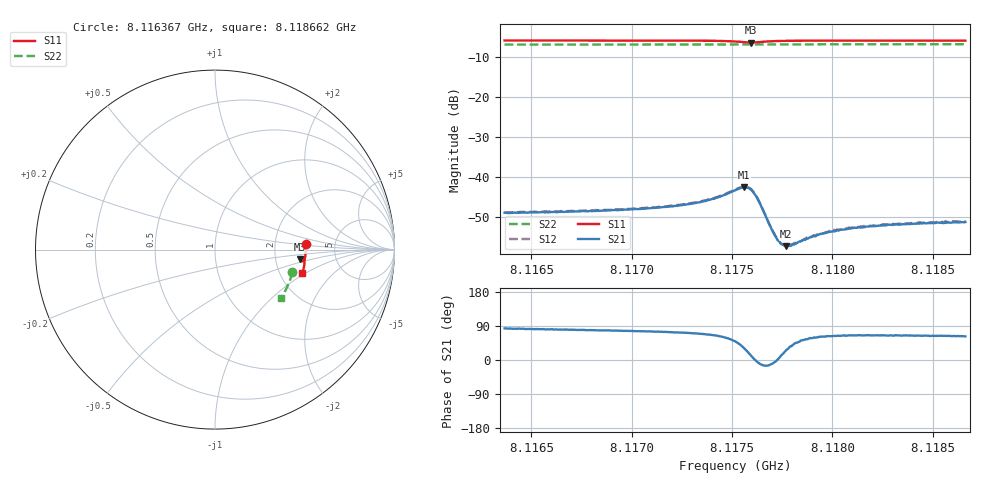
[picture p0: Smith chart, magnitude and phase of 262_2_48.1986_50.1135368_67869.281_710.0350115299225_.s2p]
#  HZ  S  RI  R  50.00
! Rohde & Schwarz Vector Network Analyzer
! Rohde-Schwarz,ZNB20-2Port,1311601062101988,3.16
! Created: UTC 3/20/2024, 11:47:48 AM
! freq[Hz]  re:S11  im:S11  re:S21  im:S21  re:S12  im:S12  re:S22  im:S22
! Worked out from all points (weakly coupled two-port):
!   401 points, 8.116367 GHz to 8.118662 GHz, reference 50 ohm
!   highest |S21| = -42.54 dB at 8.11756 GHz (marker M1); lowest = -57.3 dB at 8.117767 GHz (marker M2)
!   lowest |S11| = -6.4 dB at 8.117595 GHz (marker M3), VSWR 2.83, Z = 138 - j19.4 ohm
!   |S11| at or under -10 dB: nowhere
!   |S22| runs from -6.9 to -6.8 dB; largest |S21 - S12| = 0.00018
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8.1163666e9  0.506 0.0311  0.000409 0.00356  0.000503 0.00361  0.4312 -0.1266
8.1167512e9  0.5064 0.0017  0.000682 0.0037  0.000722 0.00371  0.4239 -0.1523
8.1171357e9  0.5047 -0.0286  0.0011 0.00399  0.00117 0.00409  0.4151 -0.1775
8.117262e9  0.503 -0.0393  0.00139 0.00431  0.00146 0.00435  0.4119 -0.1858
8.1173538e9  0.501 -0.0478  0.00181 0.00461  0.00186 0.00469  0.4093 -0.1918
8.1174227e9  0.4983 -0.0549  0.0024 0.00497  0.00246 0.00504  0.4072 -0.1962
8.1175145e9  0.4884 -0.0642  0.00445 0.00517  0.00458 0.00525  0.4042 -0.2023
8.1175605e9  0.4784 -0.0628  0.0064 0.00384  0.00654 0.00385  0.4025 -0.2047
8.1175777e9  0.4754 -0.0592  0.00685 0.00271  0.007 0.00272  0.4018 -0.2057
8.1175949e9  0.4745 -0.0542  0.00679 0.00135  0.00695 0.00131  0.4016 -0.2064
8.1176121e9  0.4765 -0.0495  0.00614 0.000158  0.00625 7.82e-05  0.4012 -0.2071
8.1176293e9  0.4805 -0.0467  0.00515 -0.000617  0.00526 -0.000659  0.4009 -0.2081
8.1176925e9  0.4929 -0.0497  0.00232 -0.000477  0.00234 -0.000518  0.3997 -0.2123
8.1177154e9  0.4953 -0.0527  0.00181 -0.00015  0.00184 -0.000163  0.3991 -0.2137
8.1177384e9  0.4968 -0.0558  0.00152 0.000197  0.00151 0.000202  0.3984 -0.2153
8.1177671e9  0.4979 -0.0593  0.00125 0.000563  0.00127 0.000554  0.3975 -0.2172
8.1178015e9  0.4986 -0.0634  0.0011 0.000911  0.00114 0.000899  0.3964 -0.2194
8.1178991e9  0.4987 -0.0731  0.00095 0.00153  0.000967 0.00156  0.3934 -0.2257
8.1179967e9  0.498 -0.0819  0.000954 0.00186  0.000984 0.0019  0.3901 -0.2319
8.1180713e9  0.4971 -0.0881  0.000958 0.00202  0.00098 0.00205  0.3879 -0.2364
8.1182837e9  0.4939 -0.1047  0.00108 0.00231  0.00109 0.00231  0.3802 -0.2493
8.1186625e9  0.4868 -0.1329  0.00127 0.00243  0.00129 0.00247  0.3659 -0.2718
